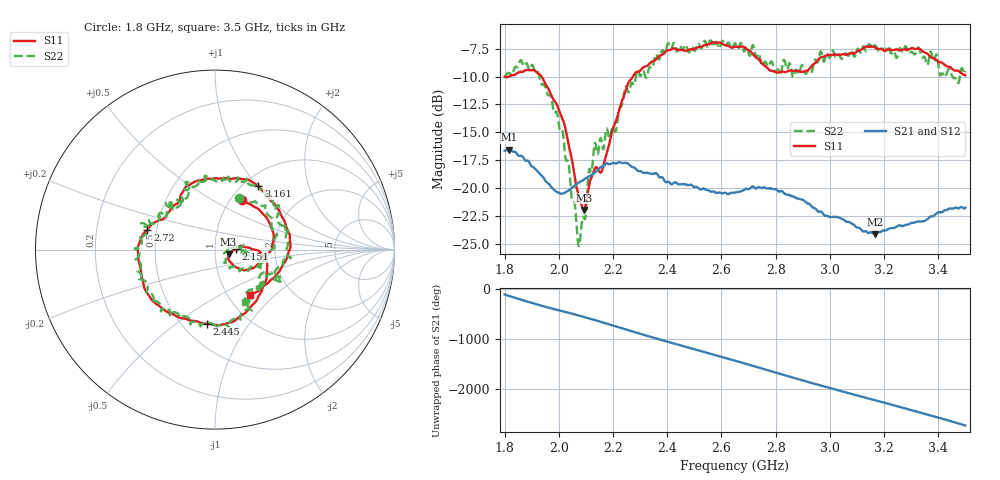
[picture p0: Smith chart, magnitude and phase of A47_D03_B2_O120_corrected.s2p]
! Created with skrf 1.9.0 (http://scikit-rf.org).
# Hz S RI R 50.0
!freq ReS11 ImS11 ReS21 ImS21 ReS12 ImS12 ReS22 ImS22
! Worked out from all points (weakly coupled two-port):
!   1601 points, 1.8 GHz to 3.5 GHz, reference 50 ohm
!   highest |S21| = -16.58 dB at 1.817 GHz (marker M1); lowest = -24.1 dB at 3.165 GHz (marker M2)
!   lowest |S11| = -22.0 dB at 2.092 GHz (marker M3), VSWR 1.17, Z = 58.1 - j2.98 ohm
!   |S11| at or under -10 dB: start of sweep to 1.816 GHz; 1.936 GHz to 2.273 GHz (336.9 MHz wide, 16 % of centre)
!   |S22| runs from -25.2 to -6.8 dB; largest |S21 - S12| = 0.0026
!   S11 on the Smith chart (normalised r, x): 1.8 GHz: 1.13, +0.70; 2.151 GHz: 1.27, +0.01; 2.445 GHz: 0.66, -0.66; 2.72 GHz: 0.44, +0.12; 3.161 GHz: 1.16, +1.02; 3.5 GHz: 1.26, -0.71
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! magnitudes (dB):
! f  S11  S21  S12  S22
! 1.8 GHz  -10.0  -16.7  -16.7  -9.9
! 1.817 GHz  -10.0  -16.6  -16.6  -9.7
! 1.903 GHz  -9.4  -18.1  -18.1  -9.0
! 1.968 GHz  -11.4  -19.8  -19.8  -11.6
! 2.014 GHz  -13.8  -20.5  -20.5  -14.9
! 2.071 GHz  -20.4  -19.6  -19.6  -24.9
! 2.084 GHz  -21.5  -19.4  -19.3  -23.3
! 2.092 GHz  -22.0  -19.2  -19.3  -22.7
! 2.129 GHz  -18.5  -18.7  -18.7  -16.5
! 2.151 GHz  -18.6  -18.2  -18.2  -15.8
! 2.209 GHz  -14.1  -17.8  -17.8  -15.0
! 2.257 GHz  -10.5  -17.9  -17.8  -11.4
! 2.367 GHz  -8.2  -18.9  -18.9  -8.4
! 2.445 GHz  -7.6  -19.7  -19.7  -7.2
! 2.65 GHz  -7.3  -20.4  -20.4  -7.0
! 2.72 GHz  -8.1  -19.9  -19.9  -7.5
! 2.803 GHz  -9.6  -20.1  -20.2  -9.5
! 2.934 GHz  -9.0  -21.7  -21.6  -9.6
! 3.161 GHz  -7.3  -24.1  -24.0  -7.4
! 3.165 GHz  -7.4  -24.1  -24.1  -7.2
! 3.217 GHz  -7.6  -23.7  -23.6  -7.4
! 3.5 GHz  -9.9  -21.8  -21.8  -9.5
